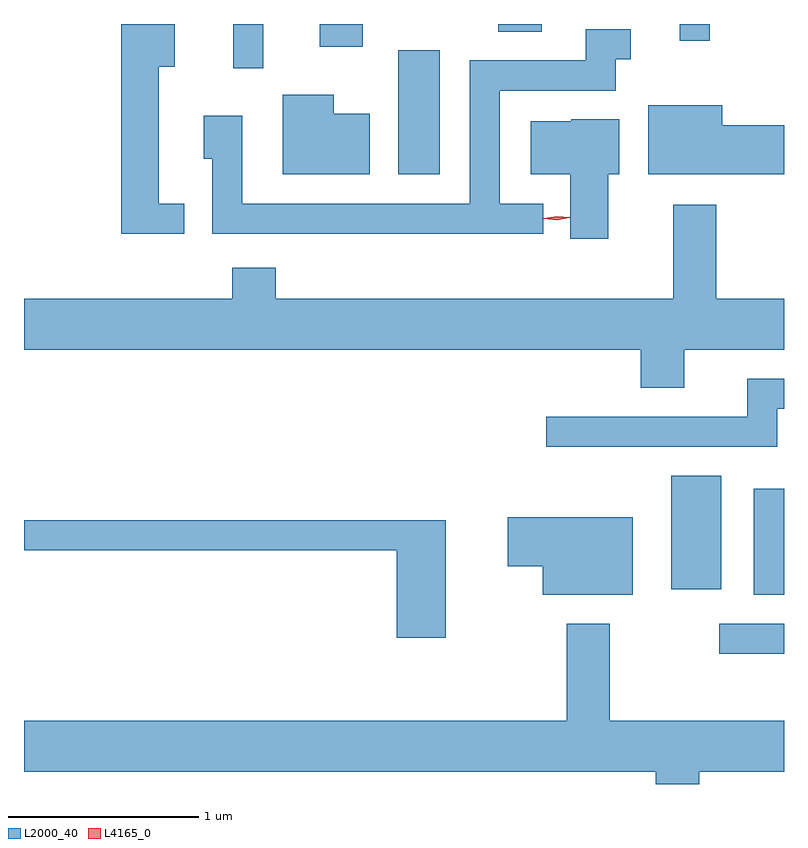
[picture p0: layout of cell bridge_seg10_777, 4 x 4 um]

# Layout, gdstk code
import gdstk
lib = gdstk.Library(unit=1e-6, precision=1e-09)
def R(c, l, rs):  # rectangles x0, y0, x1, y1
    for r in rs: c.add(gdstk.rectangle(r[:2], r[2:], *l))
def P(c, l, *ps):  # polygons
    for p in ps: c.add(gdstk.Polygon(p, *l))
L2000_40 = (2000, 40)
L4165_0 = (4165, 0)

bridge_seg10_777 = lib.new_cell('bridge_seg10_777')
R(bridge_seg10_777, L2000_40, [(445.993,2172.256,446.335,2172.414), (446.176,2172.566,446.335,2173.124), (445.741,2172.596,446.004,2173.194), (444.306,2174.781,444.524,2175.434), (443.436,2175.338,443.594,2175.571), (443.891,2175.451,444.119,2175.571), (445.786,2175.483,445.944,2175.571), (444.831,2175.531,445.059,2175.571)])
P(bridge_seg10_777, L2000_40, [(443.178,2174.624),(443.044,2174.624),(443.044,2175.346),(443.129,2175.346),(443.129,2175.571),(442.846,2175.571),(442.846,2174.466),(443.178,2174.466)],
  [(445.068,2174.624),(444.839,2174.624),(444.839,2175.221),(445.449,2175.221),(445.449,2175.386),(445.528,2175.386),(445.528,2175.544),(445.291,2175.544),(445.291,2175.379),(444.681,2175.379),(444.681,2174.624),(443.484,2174.624),(443.484,2175.089),(443.281,2175.089),(443.281,2174.861),(443.326,2174.861),(443.326,2174.466),(445.068,2174.466)],
  [(444.154,2175.099),(443.964,2175.099),(443.964,2175.199),(443.696,2175.199),(443.696,2174.781),(444.154,2174.781)],
  [(446.335,2175.039),(446.009,2175.039),(446.009,2175.144),(445.621,2175.144),(445.621,2174.781),(446.335,2174.781)],
  [(445.409,2174.781),(445.469,2174.781),(445.469,2175.069),(445.215,2175.069),(445.215,2175.059),(445.001,2175.059),(445.001,2174.781),(445.211,2174.781),(445.211,2174.441),(445.409,2174.441)],
  [(445.809,2173.856),(446.335,2173.856),(446.335,2174.124),(445.979,2174.124),(445.979,2174.619),(445.751,2174.619),(445.751,2174.124),(443.659,2174.124),(443.659,2174.289),(443.431,2174.289),(443.431,2174.124),(442.335,2174.124),(442.335,2173.856),(445.581,2173.856),(445.581,2173.656),(445.809,2173.656)],
  [(446.299,2173.546),(446.335,2173.546),(446.335,2173.704),(446.141,2173.704),(446.141,2173.504),(445.083,2173.504),(445.083,2173.346),(446.299,2173.346)],
  [(445.539,2172.974),(444.881,2172.974),(444.881,2172.716),(445.066,2172.716),(445.066,2172.566),(445.539,2172.566)],
  [(444.554,2172.959),(442.335,2172.959),(442.335,2172.801),(444.296,2172.801),(444.296,2172.341),(444.554,2172.341)],
  [(445.419,2172.414),(445.191,2172.414),(445.191,2171.904),(442.335,2171.904),(442.335,2171.636),(445.661,2171.636),(445.661,2171.571),(445.889,2171.571),(445.889,2171.636),(446.335,2171.636),(446.335,2171.904),(445.419,2171.904)])
P(bridge_seg10_777, L4165_0, [(445.139,2174.54),(445.07,2174.547),(445.069,2174.548),(445.07,2174.548),(445.138,2174.56),(445.207,2174.553),(445.207,2174.552),(445.207,2174.552)],
  [(445.139,2174.538),(445.073,2174.545),(445.073,2174.545),(445.073,2174.546),(445.138,2174.557),(445.204,2174.55),(445.205,2174.55),(445.204,2174.55)])

lib.write_gds('bridge_seg10_777.gds')
